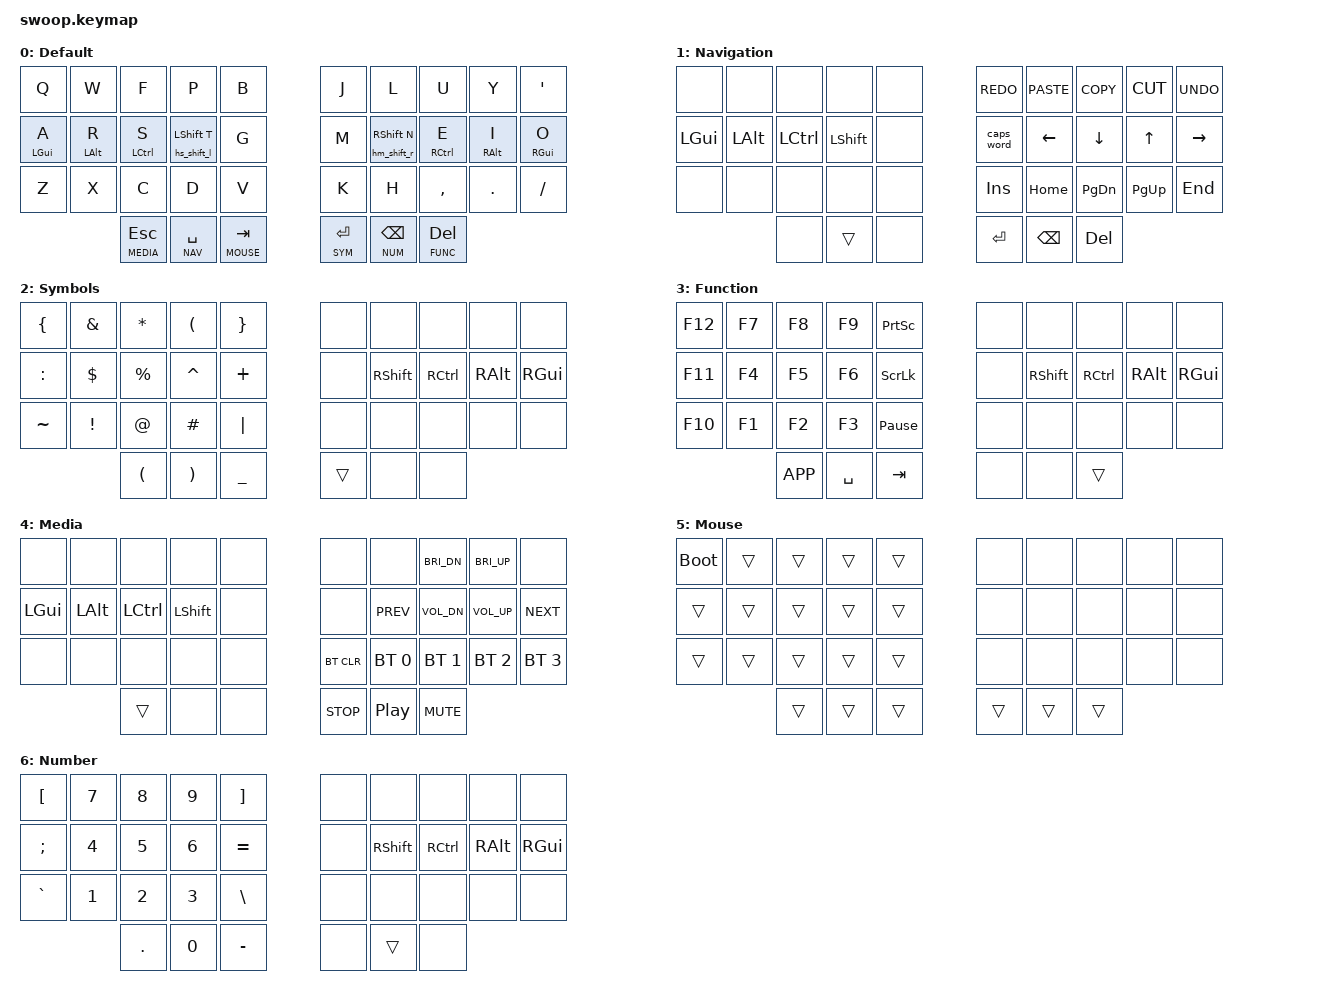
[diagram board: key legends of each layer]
#include <behaviors.dtsi>
#include <dt-bindings/zmk/keys.h>
#include <dt-bindings/zmk/bt.h>
#include <dt-bindings/zmk/outputs.h>
#include "../../../../zmk-nodefree-config/helper.h"

#include "../../../includes/settings.dtsi"
#include "../../../includes/behaviours_homerow_mods.dtsi"

#define DEFAULT 0
#define NAV     1
#define SYM     2
#define FUNC    3
#define MEDIA   4
#define MOUSE   5
#define NUM     6

&caps_word {
    continue-list = <UNDERSCORE MINUS>;
};

/ {
    behaviors {
        hm: homerow_mods {
            compatible = "zmk,behavior-hold-tap";
            label = "HOMEROW_MODS";
            #binding-cells = <2>;
            tapping-term-ms = <200>;
            quick_tap_ms = <0>;
            flavor = "tap-preferred";
            bindings = <&kp>, <&kp>;
        };
        hs: homerow_shift {
            compatible = "zmk,behavior-hold-tap";
            label = "HOMEROW_SHIFT";
            #binding-cells = <2>;
            tapping-term-ms = <150>;
            quick_tap_ms = <0>;
            flavor = "tap-preferred";
            bindings = <&kp>, <&kp>;
        };
    };
};

/ {

    keymap {
        compatible = "zmk,keymap";

        default_layer {
            label = "Default";

            bindings = <
    &kp Q        &kp W        &kp F       &kp P         &kp B                                       &kp J         &kp L        &kp U         &kp Y       &kp SQT
    &hm_l LGUI A   &hm_l LALT R   &hm_l LCTL S  &hs_shift_l LSHIFT T  &kp G                         &kp M         &hm_shift_r RSHIFT N &hm_r RCTL E    &hm_r RALT I  &hm_r RGUI O
    &kp Z        &kp X        &kp C       &kp D         &kp V                                       &kp K         &kp H        &kp COMMA     &kp DOT     &kp FSLH
                                    &lt MEDIA ESC &lt NAV SPACE  &lt MOUSE TAB    &lt SYM RET &lt NUM BSPC &lt FUNC DEL
            >;
        };

        nav_layer {
            label = "Navigation";

            bindings = <
    &none       &none       &none      &none        &none                                      &kp K_REDO   &kp K_PASTE  &kp K_COPY    &kp K_CUT   &kp K_UNDO
    &kp LGUI    &kp LALT    &kp LCTL   &kp LSHIFT   &none                                      &caps_word   &kp LEFT     &kp DOWN      &kp UP      &kp RIGHT
    &none       &none       &none      &none        &none                                      &kp INS      &kp HOME     &kp PG_DN     &kp PG_UP   &kp END
                                       &none        &trans       &none          &kp RET        &kp BSPC     &kp DEL
            >;
        };

        
        sym_layer {
            label = "Symbols";

            bindings = <
    &kp LBRC     &kp AMPS     &kp STAR      &kp LPAR        &kp RBRC                                   &none       &none       &none      &none        &none
    &kp COLON    &kp DLLR     &kp PRCNT     &kp CARET       &kp PLUS                                   &none       &kp RSHIFT  &kp RCTL   &kp RALT     &kp RGUI
    &kp TILDE    &kp EXCL     &kp AT        &kp HASH        &kp PIPE                                   &none       &none       &none      &none        &none
                                            &kp LPAR           &kp RPAR       &kp UNDER        &trans     &none       &none
            >;
        };

        func_layer {
            label = "Function";

            bindings = <
    &kp F12    &kp F7     &kp F8     &kp F9       &kp PSCRN                                  &none       &none       &none      &none        &none
    &kp F11    &kp F4     &kp F5     &kp F6       &kp SLCK                                   &none       &kp RSHIFT  &kp RCTL   &kp RALT     &kp RGUI
    &kp F10    &kp F1     &kp F2     &kp F3       &kp PAUSE_BREAK                            &none       &none       &none      &none        &none
                                            &kp K_APP           &kp SPACE       &kp TAB        &none       &none       &trans
            >;
        };

        media_layer {
            label = "Media";

            bindings = <
    &none       &none       &none      &none        &none                                      &none      &none          &kp C_BRI_DN   &kp C_BRI_UP          &none
    &kp LGUI    &kp LALT    &kp LCTL   &kp LSHIFT   &none                                      &none      &kp C_PREV     &kp K_VOL_DN   &kp K_VOL_UP   &kp C_NEXT
    &none       &none       &none      &none        &none                                      &bt BT_CLR      &bt BT_SEL 0   &bt BT_SEL 1   &bt BT_SEL 2   &bt BT_SEL 3
                                            &trans            &none        &none         &kp C_STOP      &kp C_PP       &kp C_MUTE
            >;
        };

        mouse_layer {
            label = "Mouse";

            bindings = <
    &bootloader  &trans       &trans       &trans       &trans                                           &none       &none       &none      &none        &none
    &trans       &trans       &trans       &trans       &trans                                           &none       &none       &none      &none        &none
    &trans       &trans       &trans       &trans       &trans                                           &none       &none       &none      &none        &none
                                              &trans       &trans           &trans           &trans           &trans       &trans
            >;
        };

        num_layer {
            label = "Number";

            bindings = <
    &kp LBKT     &kp N7       &kp N8       &kp N9        &kp RBKT                                      &none       &none       &none      &none        &none
    &kp SEMI     &kp N4       &kp N5       &kp N6        &kp EQUAL                                     &none       &kp RSHIFT       &kp RCTL       &kp RALT       &kp RGUI
    &kp GRAVE    &kp N1       &kp N2       &kp N3        &kp BSLH                                      &none       &none       &none      &none        &none
                                           &kp DOT       &kp N0        &kp MINUS         &none         &trans      &none
            >;
        };
    };
};
